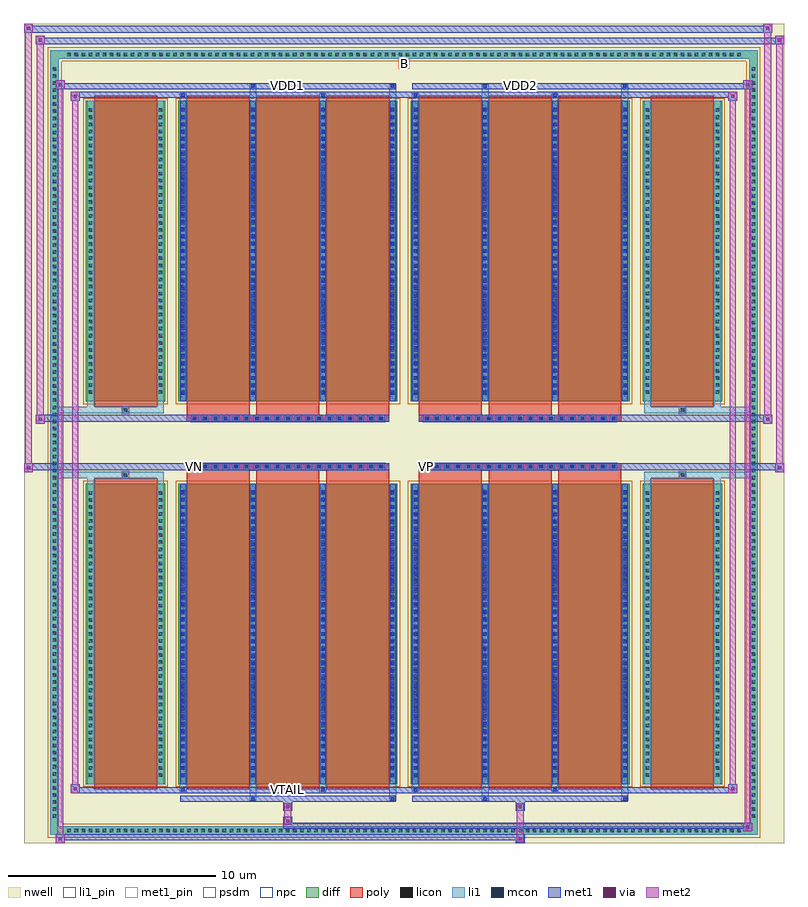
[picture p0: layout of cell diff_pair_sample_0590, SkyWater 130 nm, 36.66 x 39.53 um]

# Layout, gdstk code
import gdstk
lib = gdstk.Library(unit=1e-6, precision=5e-09)
def R(c, l, rs):  # rectangles x0, y0, x1, y1
    for r in rs: c.add(gdstk.rectangle(r[:2], r[2:], *l))
def A(c, l, x, y, w, h, nx, ny, dx, dy):  # array of equal rectangles
    R(c, l, [(x+i*dx, y+j*dy, x+i*dx+w, y+j*dy+h) for i in range(nx) for j in range(ny)])
def P(c, l, *ps):  # polygons
    for p in ps: c.add(gdstk.Polygon(p, *l))
nwell = (64, 20)
diff = (65, 20)
poly = (66, 20)
licon = (66, 44)
li1_pin = (67, 16)
li1 = (67, 20)
mcon = (67, 44)
met1_pin = (68, 16)
met1 = (68, 20)
via = (68, 44)
met2 = (69, 20)
psdm = (94, 20)
npc = (95, 20)

diff_pair_sample_0590 = lib.new_cell('diff_pair_sample_0590')
R(diff_pair_sample_0590, nwell, [(-18.33,-19.33,18.33,20.2), (-15.65,-17.52,-0.01,-0.8), (0.01,-17.52,15.65,-0.8), (-15.65,0.8,-0.01,17.52), (0.01,0.8,15.65,17.52)])
A(diff_pair_sample_0590, diff, -16.355, -18.93, 0.41, 0.41, 96, 2, 0.34, 37.45)
A(diff_pair_sample_0590, diff, -17.06, -18.225, 0.41, 0.41, 1, 107, 0, 0.34)
A(diff_pair_sample_0590, diff, 16.65, -18.225, 0.41, 0.41, 1, 107, 0, 0.34)
R(diff_pair_sample_0590, diff, [(-16.355,-18.93,16.355,-18.52), (-17.06,-18.225,-16.65,18.225), (16.65,-18.225,17.06,18.225), (-15.34,-16.475,-11.52,-1.985), (-10.88,-16.475,-0.32,-1.985), (0.32,-16.475,10.88,-1.985), (11.52,-16.475,15.34,-1.985), (-15.34,1.985,-11.52,16.475), (-10.88,1.985,-0.32,16.475), (0.32,1.985,10.88,16.475), (11.52,1.985,15.34,16.475), (-16.355,18.52,16.355,18.93)])
P(diff_pair_sample_0590, diff, [(17.06,18.93),(-17.06,18.93),(-17.06,-18.52),(-16.65,-18.52),(-16.65,18.52),(16.65,18.52),(16.65,-18.52),(-16.65,-18.52),(-17.06,-18.52),(-17.06,-18.93),(17.06,-18.93)])
A(diff_pair_sample_0590, poly, -10.49, -16.725, 3.04, 14.99, 3, 2, 3.37, 18.46)
A(diff_pair_sample_0590, poly, 0.71, -16.725, 3.04, 14.99, 3, 2, 3.37, 18.46)
A(diff_pair_sample_0590, poly, -10.49, -1.735, 3.04, 0.405, 3, 2, 3.37, 3.065)
A(diff_pair_sample_0590, poly, 0.71, -1.735, 3.04, 0.405, 3, 2, 3.37, 3.065)
A(diff_pair_sample_0590, poly, -10.265, -1.33, 0.33, 0.33, 19, 2, 0.5, 2.33)
A(diff_pair_sample_0590, poly, 0.935, -1.33, 0.33, 0.33, 19, 2, 0.5, 2.33)
R(diff_pair_sample_0590, poly, [(-14.95,-16.725,-11.91,-1.735), (11.91,-16.725,14.95,-1.735), (-13.595,-1.735,-13.265,-1.405), (-13.595,-1.735,-13.265,-1.405), (13.265,-1.735,13.595,-1.405), (13.265,-1.735,13.595,-1.405), (-10.49,-1.33,-0.71,-1), (0.71,-1.33,10.49,-1), (-10.49,1,-0.71,1.33), (0.71,1,10.49,1.33), (-13.595,1.405,-13.265,1.735), (-13.595,1.405,-13.265,1.735), (13.265,1.405,13.595,1.735), (13.265,1.405,13.595,1.735), (-14.95,1.735,-11.91,16.725), (11.91,1.735,14.95,16.725)])
A(diff_pair_sample_0590, licon, -16.235, -18.81, 0.17, 0.17, 96, 2, 0.34, 37.45)
A(diff_pair_sample_0590, licon, -16.94, -18.105, 0.17, 0.17, 1, 107, 0, 0.34)
A(diff_pair_sample_0590, licon, 16.77, -18.105, 0.17, 0.17, 1, 107, 0, 0.34)
A(diff_pair_sample_0590, licon, -15.2, -16.115, 0.17, 0.17, 1, 41, 0, 0.34)
A(diff_pair_sample_0590, licon, -11.83, -16.115, 0.17, 0.17, 1, 41, 0, 0.34)
A(diff_pair_sample_0590, licon, -10.74, -16.115, 0.17, 0.17, 4, 41, 3.37, 0.34)
A(diff_pair_sample_0590, licon, 0.46, -16.115, 0.17, 0.17, 4, 41, 3.37, 0.34)
A(diff_pair_sample_0590, licon, 11.66, -16.115, 0.17, 0.17, 1, 41, 0, 0.34)
A(diff_pair_sample_0590, licon, 15.03, -16.115, 0.17, 0.17, 1, 41, 0, 0.34)
A(diff_pair_sample_0590, licon, -10.185, -1.25, 0.17, 0.17, 19, 2, 0.5, 2.33)
A(diff_pair_sample_0590, licon, 1.015, -1.25, 0.17, 0.17, 19, 2, 0.5, 2.33)
A(diff_pair_sample_0590, licon, -15.2, 2.345, 0.17, 0.17, 1, 41, 0, 0.34)
A(diff_pair_sample_0590, licon, -11.83, 2.345, 0.17, 0.17, 1, 41, 0, 0.34)
A(diff_pair_sample_0590, licon, -10.74, 2.345, 0.17, 0.17, 4, 41, 3.37, 0.34)
A(diff_pair_sample_0590, licon, 0.46, 2.345, 0.17, 0.17, 4, 41, 3.37, 0.34)
A(diff_pair_sample_0590, licon, 11.66, 2.345, 0.17, 0.17, 1, 41, 0, 0.34)
A(diff_pair_sample_0590, licon, 15.03, 2.345, 0.17, 0.17, 1, 41, 0, 0.34)
R(diff_pair_sample_0590, licon, [(-13.515,-1.655,-13.345,-1.485), (13.345,-1.655,13.515,-1.485), (-13.515,1.485,-13.345,1.655), (13.345,1.485,13.515,1.655)])
R(diff_pair_sample_0590, li1_pin, [(-0.25,18.02,0.25,18.52)])
A(diff_pair_sample_0590, li1, -16.315, -18.89, 0.33, 0.33, 96, 2, 0.34, 37.45)
A(diff_pair_sample_0590, li1, -17.02, -18.185, 0.33, 0.33, 1, 107, 0, 0.34)
A(diff_pair_sample_0590, li1, 16.69, -18.185, 0.33, 0.33, 1, 107, 0, 0.34)
A(diff_pair_sample_0590, li1, -10.82, -16.475, 0.33, 14.49, 4, 2, 3.37, 18.46)
A(diff_pair_sample_0590, li1, 0.38, -16.475, 0.33, 14.49, 4, 2, 3.37, 18.46)
A(diff_pair_sample_0590, li1, -15.28, -16.195, 0.33, 0.33, 1, 41, 0, 0.34)
A(diff_pair_sample_0590, li1, -11.91, -16.195, 0.33, 0.33, 1, 41, 0, 0.34)
A(diff_pair_sample_0590, li1, -10.82, -16.195, 0.33, 0.33, 4, 41, 3.37, 0.34)
A(diff_pair_sample_0590, li1, 0.38, -16.195, 0.33, 0.33, 4, 41, 3.37, 0.34)
A(diff_pair_sample_0590, li1, 11.58, -16.195, 0.33, 0.33, 1, 41, 0, 0.34)
A(diff_pair_sample_0590, li1, 14.95, -16.195, 0.33, 0.33, 1, 41, 0, 0.34)
A(diff_pair_sample_0590, li1, -10.74, -16.155, 0.17, 0.17, 4, 39, 3.37, 0.36)
A(diff_pair_sample_0590, li1, -10.74, -16.155, 0.17, 13.85, 4, 2, 3.37, 18.46)
A(diff_pair_sample_0590, li1, 0.46, -16.155, 0.17, 0.17, 4, 39, 3.37, 0.36)
A(diff_pair_sample_0590, li1, 0.46, -16.155, 0.17, 13.85, 4, 2, 3.37, 18.46)
A(diff_pair_sample_0590, li1, -10.265, -1.33, 0.33, 0.33, 19, 2, 0.5, 2.33)
A(diff_pair_sample_0590, li1, 0.935, -1.33, 0.33, 0.33, 19, 2, 0.5, 2.33)
A(diff_pair_sample_0590, li1, -15.28, 2.265, 0.33, 0.33, 1, 41, 0, 0.34)
A(diff_pair_sample_0590, li1, -11.91, 2.265, 0.33, 0.33, 1, 41, 0, 0.34)
A(diff_pair_sample_0590, li1, -10.82, 2.265, 0.33, 0.33, 4, 41, 3.37, 0.34)
A(diff_pair_sample_0590, li1, 0.38, 2.265, 0.33, 0.33, 4, 41, 3.37, 0.34)
A(diff_pair_sample_0590, li1, 11.58, 2.265, 0.33, 0.33, 1, 41, 0, 0.34)
A(diff_pair_sample_0590, li1, 14.95, 2.265, 0.33, 0.33, 1, 41, 0, 0.34)
A(diff_pair_sample_0590, li1, -10.74, 2.305, 0.17, 0.17, 4, 39, 3.37, 0.36)
A(diff_pair_sample_0590, li1, 0.46, 2.305, 0.17, 0.17, 4, 39, 3.37, 0.36)
R(diff_pair_sample_0590, li1, [(-17.06,-18.93,-16.65,-18.52), (-17.06,-18.93,-16.65,-18.52), (-16.65,-18.93,16.65,-18.52), (16.65,-18.93,17.06,-18.52), (16.65,-18.93,17.06,-18.52), (-17.06,-18.52,-16.65,18.52), (16.65,-18.52,17.06,18.52), (-7.45,-17.28,-7.12,-16.475), (-7.37,-17.28,-7.2,-17.11), (-0.71,-17.28,-0.38,-16.475), (-0.63,-17.28,-0.46,-17.11), (3.75,-17.28,4.08,-16.475), (3.83,-17.28,4,-17.11), (10.49,-17.28,10.82,-16.475), (10.57,-17.28,10.74,-17.11), (-10.82,-16.85,-10.49,-16.475), (-10.74,-16.85,-10.57,-16.68), (-4.08,-16.85,-3.75,-16.475), (-4,-16.85,-3.83,-16.68), (0.38,-16.85,0.71,-16.475), (0.46,-16.85,0.63,-16.68), (7.12,-16.85,7.45,-16.475), (7.2,-16.85,7.37,-16.68), (-15.28,-16.475,-14.95,-1.985), (-11.91,-16.475,-11.58,-1.985), (11.58,-16.475,11.91,-1.985), (14.95,-16.475,15.28,-1.985), (-15.28,-1.985,-14.95,-1.405), (-11.91,-1.985,-11.58,-1.405), (11.58,-1.985,11.91,-1.405), (14.95,-1.985,15.28,-1.405), (-17.06,-1.735,-13.595,-1.405), (-15.28,-1.735,-13.595,-1.405), (-13.595,-1.735,-13.265,-1.405), (-13.265,-1.735,-11.58,-1.405), (11.58,-1.735,13.265,-1.405), (13.265,-1.735,13.595,-1.405), (13.265,-1.735,17.06,-1.405), (13.595,-1.735,15.28,-1.405), (-17.06,1.405,-13.595,1.735), (-15.28,1.405,-13.595,1.735), (-15.28,1.405,-14.95,1.985), (-13.595,1.405,-13.265,1.735), (-13.265,1.405,-11.58,1.735), (-11.91,1.405,-11.58,1.985), (11.58,1.405,13.265,1.735), (11.58,1.405,11.91,1.985), (13.265,1.405,13.595,1.735), (13.265,1.405,17.06,1.735), (13.595,1.405,15.28,1.735), (14.95,1.405,15.28,1.985), (-15.28,1.985,-14.95,16.475), (-11.91,1.985,-11.58,16.475), (11.58,1.985,11.91,16.475), (14.95,1.985,15.28,16.475), (-10.82,16.475,-10.49,16.85), (-7.45,16.475,-7.12,17.28), (-4.08,16.475,-3.75,16.85), (-0.71,16.475,-0.38,17.28), (0.38,16.475,0.71,16.85), (3.75,16.475,4.08,17.28), (7.12,16.475,7.45,16.85), (10.49,16.475,10.82,17.28), (-10.74,16.68,-10.57,16.85), (-4,16.68,-3.83,16.85), (0.46,16.68,0.63,16.85), (7.2,16.68,7.37,16.85), (-7.37,17.11,-7.2,17.28), (-0.63,17.11,-0.46,17.28), (3.83,17.11,4,17.28), (10.57,17.11,10.74,17.28), (-17.06,18.52,-16.65,18.93), (-17.06,18.52,-16.65,18.93), (-16.65,18.52,16.65,18.93), (16.65,18.52,17.06,18.93), (16.65,18.52,17.06,18.93)])
A(diff_pair_sample_0590, mcon, -10.74, -16.155, 0.17, 0.17, 4, 39, 3.37, 0.36)
A(diff_pair_sample_0590, mcon, 0.46, -16.155, 0.17, 0.17, 4, 39, 3.37, 0.36)
A(diff_pair_sample_0590, mcon, -10.185, -1.25, 0.17, 0.17, 19, 2, 0.5, 2.33)
A(diff_pair_sample_0590, mcon, 1.015, -1.25, 0.17, 0.17, 19, 2, 0.5, 2.33)
A(diff_pair_sample_0590, mcon, -10.74, 2.305, 0.17, 0.17, 4, 39, 3.37, 0.36)
A(diff_pair_sample_0590, mcon, 0.46, 2.305, 0.17, 0.17, 4, 39, 3.37, 0.36)
R(diff_pair_sample_0590, mcon, [(-7.37,-17.28,-7.2,-17.11), (-0.63,-17.28,-0.46,-17.11), (3.83,-17.28,4,-17.11), (10.57,-17.28,10.74,-17.11), (-10.74,-16.85,-10.57,-16.68), (-4,-16.85,-3.83,-16.68), (0.46,-16.85,0.63,-16.68), (7.2,-16.85,7.37,-16.68), (-10.74,16.68,-10.57,16.85), (-4,16.68,-3.83,16.85), (0.46,16.68,0.63,16.85), (7.2,16.68,7.37,16.85), (-7.37,17.11,-7.2,17.28), (-0.63,17.11,-0.46,17.28), (3.83,17.11,4,17.28), (10.57,17.11,10.74,17.28)])
R(diff_pair_sample_0590, met1_pin, [(-5.735,-16.89,-5.465,-16.62), (-10.235,-1.29,-9.965,-1.02), (0.965,-1.29,1.235,-1.02), (-5.735,17.07,-5.465,17.34), (5.465,17.07,5.735,17.34)])
A(diff_pair_sample_0590, met1, -10.8, -16.475, 0.29, 14.49, 4, 2, 3.37, 18.46)
A(diff_pair_sample_0590, met1, 0.4, -16.475, 0.29, 14.49, 4, 2, 3.37, 18.46)
A(diff_pair_sample_0590, met1, -10.8, -16.215, 0.29, 0.29, 4, 39, 3.37, 0.36)
A(diff_pair_sample_0590, met1, 0.4, -16.215, 0.29, 0.29, 4, 39, 3.37, 0.36)
A(diff_pair_sample_0590, met1, -10.245, -1.31, 0.29, 0.29, 19, 2, 0.5, 2.33)
A(diff_pair_sample_0590, met1, 0.955, -1.31, 0.29, 0.29, 19, 2, 0.5, 2.33)
A(diff_pair_sample_0590, met1, -10.8, 2.245, 0.29, 0.29, 4, 39, 3.37, 0.36)
A(diff_pair_sample_0590, met1, 0.4, 2.245, 0.29, 0.29, 4, 39, 3.37, 0.36)
R(diff_pair_sample_0590, met1, [(-16.79,-19.33,-16.36,-18.9), (5.385,-19.33,5.815,-18.9), (-16.79,-19.19,5.815,-18.9), (16.36,-18.76,16.79,-18.33), (-5.815,-18.62,16.79,-18.33), (-5.815,-18.48,-5.385,-18.05), (-5.815,-17.77,-5.385,-17.34), (5.385,-17.77,5.815,-17.34), (-10.8,-17.34,-0.4,-17.05), (-7.43,-17.34,-7.14,-17.05), (-0.69,-17.34,-0.4,-17.05), (0.4,-17.34,10.8,-17.05), (3.77,-17.34,4.06,-17.05), (10.51,-17.34,10.8,-17.05), (-16.08,-16.91,-15.65,-16.48), (-16.08,-16.91,-10.8,-16.62), (-10.8,-16.91,-10.51,-16.62), (-10.8,-16.91,-0.4,-16.62), (-4.06,-16.91,-3.77,-16.62), (-0.4,-16.91,0.4,-16.62), (0.4,-16.91,0.69,-16.62), (0.4,-16.91,10.8,-16.62), (7.14,-16.91,7.43,-16.62), (10.8,-16.91,16.08,-16.62), (15.65,-16.91,16.08,-16.48), (-18.33,-1.43,-17.9,-1), (17.9,-1.43,18.33,-1), (-18.33,-1.33,-0.71,-1), (-10.49,-1.33,-0.71,-1), (0.71,-1.33,10.49,-1), (0.71,-1.33,18.33,-1), (-17.76,0.9,-17.33,1.33), (17.33,0.9,17.76,1.33), (-17.76,1,-10.49,1.33), (-10.49,1,-0.71,1.33), (0.71,1,10.49,1.33), (10.49,1,17.76,1.33), (-16.08,16.48,-15.65,16.91), (15.65,16.48,16.08,16.91), (-16.08,16.62,-10.8,16.91), (-10.8,16.62,-10.51,16.91), (-10.8,16.62,-0.4,16.91), (-4.06,16.62,-3.77,16.91), (-0.4,16.62,0.4,16.91), (0.4,16.62,0.69,16.91), (0.4,16.62,10.8,16.91), (7.14,16.62,7.43,16.91), (10.8,16.62,16.08,16.91), (-16.79,17.05,-16.36,17.48), (-16.79,17.05,-10.8,17.34), (-10.8,17.05,-0.4,17.34), (-7.43,17.05,-7.14,17.34), (-0.69,17.05,-0.4,17.34), (0.4,17.05,10.8,17.34), (3.77,17.05,4.06,17.34), (10.51,17.05,10.8,17.34), (10.8,17.05,16.79,17.34), (16.36,17.05,16.79,17.48), (-17.76,19.2,-17.33,19.63), (-17.76,19.2,-15.65,19.53), (-15.65,19.2,15.65,19.53), (15.65,19.2,18.33,19.53), (17.9,19.2,18.33,19.63), (-18.33,19.77,-17.9,20.2), (-18.33,19.77,-15.65,20.1), (-15.65,19.77,15.65,20.1), (15.65,19.77,17.76,20.1), (17.33,19.77,17.76,20.2)])
R(diff_pair_sample_0590, via, [(-16.65,-19.19,-16.5,-19.04), (5.525,-19.19,5.675,-19.04), (16.5,-18.62,16.65,-18.47), (-5.675,-18.34,-5.525,-18.19), (-5.675,-17.63,-5.525,-17.48), (5.525,-17.63,5.675,-17.48), (-15.94,-16.77,-15.79,-16.62), (15.79,-16.77,15.94,-16.62), (-18.19,-1.29,-18.04,-1.14), (18.04,-1.29,18.19,-1.14), (-17.62,1.04,-17.47,1.19), (17.47,1.04,17.62,1.19), (-15.94,16.62,-15.79,16.77), (15.79,16.62,15.94,16.77), (-16.65,17.19,-16.5,17.34), (16.5,17.19,16.65,17.34), (-17.62,19.34,-17.47,19.49), (18.04,19.34,18.19,19.49), (-18.19,19.91,-18.04,20.06), (17.47,19.91,17.62,20.06)])
R(diff_pair_sample_0590, met2, [(-16.79,-19.33,-16.36,-18.9), (-16.72,-19.33,-16.43,17.48), (-16.43,-19.33,-16.36,-18.9), (-16.74,-19.28,-16.41,-18.95), (5.435,-19.28,5.765,-18.95), (5.435,-18.95,5.765,-17.72), (16.36,-18.76,16.79,-18.33), (16.43,-18.76,16.72,17.48), (16.72,-18.76,16.79,-18.33), (16.41,-18.71,16.74,-18.38), (-5.765,-18.43,-5.435,-18.1), (-5.765,-18.1,-5.435,-17.72), (-5.765,-17.72,-5.435,-17.39), (5.435,-17.72,5.765,-17.39), (-16.08,-16.91,-15.65,-16.48), (-16.01,-16.91,-15.72,16.91), (-15.72,-16.91,-15.65,-16.48), (15.65,-16.91,16.08,-16.48), (15.72,-16.91,16.01,16.91), (16.01,-16.91,16.08,-16.48), (-16.03,-16.86,-15.7,-16.53), (15.7,-16.86,16.03,-16.53), (-18.33,-1.43,-17.9,-1), (-18.28,-1.43,-17.95,20.2), (-17.95,-1.43,-17.9,-1), (17.9,-1.43,18.33,-1), (17.95,-1.43,18.28,19.63), (18.28,-1.43,18.33,-1), (-18.28,-1.38,-17.95,-1.05), (17.95,-1.38,18.28,-1.05), (-17.76,0.9,-17.33,1.33), (-17.71,0.9,-17.38,19.63), (-17.38,0.9,-17.33,1.33), (17.33,0.9,17.76,1.33), (17.38,0.9,17.71,20.2), (17.71,0.9,17.76,1.33), (-17.71,0.95,-17.38,1.28), (17.38,0.95,17.71,1.28), (-16.08,16.48,-15.65,16.91), (-15.72,16.48,-15.65,16.91), (15.65,16.48,16.08,16.91), (16.01,16.48,16.08,16.91), (-16.03,16.53,-15.7,16.86), (15.7,16.53,16.03,16.86), (-16.79,17.05,-16.36,17.48), (-16.43,17.05,-16.36,17.48), (16.36,17.05,16.79,17.48), (16.72,17.05,16.79,17.48), (-16.74,17.1,-16.41,17.43), (16.41,17.1,16.74,17.43), (-17.76,19.2,-17.33,19.63), (-17.38,19.2,-17.33,19.63), (17.9,19.2,18.33,19.63), (18.28,19.2,18.33,19.63), (-17.71,19.25,-17.38,19.58), (17.95,19.25,18.28,19.58), (-18.33,19.77,-17.9,20.2), (-17.95,19.77,-17.9,20.2), (17.33,19.77,17.76,20.2), (17.71,19.77,17.76,20.2), (-18.28,19.82,-17.95,20.15), (17.38,19.82,17.71,20.15)])
R(diff_pair_sample_0590, psdm, [(-15.47,-16.605,-11.39,-1.855), (-11.01,-16.605,-0.19,-1.855), (0.19,-16.605,11.01,-1.855), (11.39,-16.605,15.47,-1.855), (-15.47,1.855,-11.39,16.605), (-11.01,1.855,-0.19,16.605), (0.19,1.855,11.01,16.605), (11.39,1.855,15.47,16.605)])
P(diff_pair_sample_0590, psdm, [(17.19,19.06),(-17.19,19.06),(-17.19,-18.39),(-16.52,-18.39),(-16.52,18.39),(16.52,18.39),(16.52,-18.39),(-16.52,-18.39),(-17.19,-18.39),(-17.19,-19.06),(17.19,-19.06)])
A(diff_pair_sample_0590, npc, -10.285, -1.35, 0.37, 0.37, 19, 2, 0.5, 2.33)
A(diff_pair_sample_0590, npc, 0.915, -1.35, 0.37, 0.37, 19, 2, 0.5, 2.33)
R(diff_pair_sample_0590, npc, [(-13.615,-1.755,-13.245,-1.385), (13.245,-1.755,13.615,-1.385), (-10.285,-1.35,-9.415,-0.98), (-10.285,-1.35,-9.415,-0.98), (-9.785,-1.35,-8.915,-0.98), (-9.785,-1.35,-8.915,-0.98), (-9.285,-1.35,-8.415,-0.98), (-9.285,-1.35,-8.415,-0.98), (-8.785,-1.35,-7.915,-0.98), (-8.785,-1.35,-7.915,-0.98), (-8.285,-1.35,-7.415,-0.98), (-8.285,-1.35,-7.415,-0.98), (-7.785,-1.35,-6.915,-0.98), (-7.785,-1.35,-6.915,-0.98), (-7.285,-1.35,-6.415,-0.98), (-7.285,-1.35,-6.415,-0.98), (-6.785,-1.35,-5.915,-0.98), (-6.785,-1.35,-5.915,-0.98), (-6.285,-1.35,-5.415,-0.98), (-6.285,-1.35,-5.415,-0.98), (-5.785,-1.35,-4.915,-0.98), (-5.785,-1.35,-4.915,-0.98), (-5.285,-1.35,-4.415,-0.98), (-5.285,-1.35,-4.415,-0.98), (-4.785,-1.35,-3.915,-0.98), (-4.785,-1.35,-3.915,-0.98), (-4.285,-1.35,-3.415,-0.98), (-4.285,-1.35,-3.415,-0.98), (-3.785,-1.35,-2.915,-0.98), (-3.785,-1.35,-2.915,-0.98), (-3.285,-1.35,-2.415,-0.98), (-3.285,-1.35,-2.415,-0.98), (-2.785,-1.35,-1.915,-0.98), (-2.785,-1.35,-1.915,-0.98), (-2.285,-1.35,-1.415,-0.98), (-2.285,-1.35,-1.415,-0.98), (-1.785,-1.35,-0.915,-0.98), (-1.785,-1.35,-0.915,-0.98), (0.915,-1.35,1.785,-0.98), (0.915,-1.35,1.785,-0.98), (1.415,-1.35,2.285,-0.98), (1.415,-1.35,2.285,-0.98), (1.915,-1.35,2.785,-0.98), (1.915,-1.35,2.785,-0.98), (2.415,-1.35,3.285,-0.98), (2.415,-1.35,3.285,-0.98), (2.915,-1.35,3.785,-0.98), (2.915,-1.35,3.785,-0.98), (3.415,-1.35,4.285,-0.98), (3.415,-1.35,4.285,-0.98), (3.915,-1.35,4.785,-0.98), (3.915,-1.35,4.785,-0.98), (4.415,-1.35,5.285,-0.98), (4.415,-1.35,5.285,-0.98), (4.915,-1.35,5.785,-0.98), (4.915,-1.35,5.785,-0.98), (5.415,-1.35,6.285,-0.98), (5.415,-1.35,6.285,-0.98), (5.915,-1.35,6.785,-0.98), (5.915,-1.35,6.785,-0.98), (6.415,-1.35,7.285,-0.98), (6.415,-1.35,7.285,-0.98), (6.915,-1.35,7.785,-0.98), (6.915,-1.35,7.785,-0.98), (7.415,-1.35,8.285,-0.98), (7.415,-1.35,8.285,-0.98), (7.915,-1.35,8.785,-0.98), (7.915,-1.35,8.785,-0.98), (8.415,-1.35,9.285,-0.98), (8.415,-1.35,9.285,-0.98), (8.915,-1.35,9.785,-0.98), (8.915,-1.35,9.785,-0.98), (9.415,-1.35,10.285,-0.98), (9.415,-1.35,10.285,-0.98), (-10.285,0.98,-9.415,1.35), (-10.285,0.98,-9.415,1.35), (-9.785,0.98,-8.915,1.35), (-9.785,0.98,-8.915,1.35), (-9.285,0.98,-8.415,1.35), (-9.285,0.98,-8.415,1.35), (-8.785,0.98,-7.915,1.35), (-8.785,0.98,-7.915,1.35), (-8.285,0.98,-7.415,1.35), (-8.285,0.98,-7.415,1.35), (-7.785,0.98,-6.915,1.35), (-7.785,0.98,-6.915,1.35), (-7.285,0.98,-6.415,1.35), (-7.285,0.98,-6.415,1.35), (-6.785,0.98,-5.915,1.35), (-6.785,0.98,-5.915,1.35), (-6.285,0.98,-5.415,1.35), (-6.285,0.98,-5.415,1.35), (-5.785,0.98,-4.915,1.35), (-5.785,0.98,-4.915,1.35), (-5.285,0.98,-4.415,1.35), (-5.285,0.98,-4.415,1.35), (-4.785,0.98,-3.915,1.35), (-4.785,0.98,-3.915,1.35), (-4.285,0.98,-3.415,1.35), (-4.285,0.98,-3.415,1.35), (-3.785,0.98,-2.915,1.35), (-3.785,0.98,-2.915,1.35), (-3.285,0.98,-2.415,1.35), (-3.285,0.98,-2.415,1.35), (-2.785,0.98,-1.915,1.35), (-2.785,0.98,-1.915,1.35), (-2.285,0.98,-1.415,1.35), (-2.285,0.98,-1.415,1.35), (-1.785,0.98,-0.915,1.35), (-1.785,0.98,-0.915,1.35), (0.915,0.98,1.785,1.35), (0.915,0.98,1.785,1.35), (1.415,0.98,2.285,1.35), (1.415,0.98,2.285,1.35), (1.915,0.98,2.785,1.35), (1.915,0.98,2.785,1.35), (2.415,0.98,3.285,1.35), (2.415,0.98,3.285,1.35), (2.915,0.98,3.785,1.35), (2.915,0.98,3.785,1.35), (3.415,0.98,4.285,1.35), (3.415,0.98,4.285,1.35), (3.915,0.98,4.785,1.35), (3.915,0.98,4.785,1.35), (4.415,0.98,5.285,1.35), (4.415,0.98,5.285,1.35), (4.915,0.98,5.785,1.35), (4.915,0.98,5.785,1.35), (5.415,0.98,6.285,1.35), (5.415,0.98,6.285,1.35), (5.915,0.98,6.785,1.35), (5.915,0.98,6.785,1.35), (6.415,0.98,7.285,1.35), (6.415,0.98,7.285,1.35), (6.915,0.98,7.785,1.35), (6.915,0.98,7.785,1.35), (7.415,0.98,8.285,1.35), (7.415,0.98,8.285,1.35), (7.915,0.98,8.785,1.35), (7.915,0.98,8.785,1.35), (8.415,0.98,9.285,1.35), (8.415,0.98,9.285,1.35), (8.915,0.98,9.785,1.35), (8.915,0.98,9.785,1.35), (9.415,0.98,10.285,1.35), (9.415,0.98,10.285,1.35), (-13.615,1.385,-13.245,1.755), (13.245,1.385,13.615,1.755)])
diff_pair_sample_0590.add(gdstk.Label('VTAIL', (-5.6,-16.755), layer=68, texttype=5))
diff_pair_sample_0590.add(gdstk.Label('VN', (-10.1,-1.155), layer=68, texttype=5))
diff_pair_sample_0590.add(gdstk.Label('VP', (1.1,-1.155), layer=68, texttype=5))
diff_pair_sample_0590.add(gdstk.Label('B', (0,18.27), layer=67, texttype=5))
diff_pair_sample_0590.add(gdstk.Label('VDD2', (5.6,17.205), layer=68, texttype=5))
diff_pair_sample_0590.add(gdstk.Label('VDD1', (-5.6,17.205), layer=68, texttype=5))

lib.write_gds('diff_pair_sample_0590.gds')
